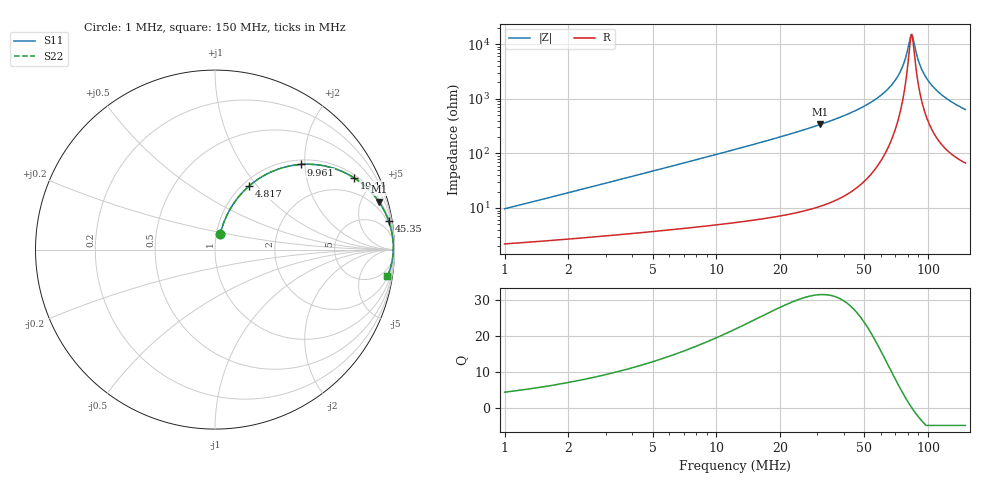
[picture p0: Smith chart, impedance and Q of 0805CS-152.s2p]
# MHz S MA R 50
!Freq  MagS11  AngS11  MagS21  AngS21  MagS12  AngS12  MagS22  AngS22
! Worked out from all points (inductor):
!   801 points, 1 MHz to 150 MHz, reference 50 ohm
!   read as one part in series: L = 1.5 uH near 1.025 MHz
!   highest Q = 31.5 at 30.95 MHz (marker M1), where L = 1.74 uH
!   self-resonance near 83.25 MHz
!   S11 on the Smith chart (normalised r, x): 1 MHz: 1.04, +0.19; 4.817 MHz: 1.07, +0.91; 9.961 MHz: 1.10, +1.90; 19.11 MHz: 1.14, +3.80; 45.35 MHz: 1, +12; 150 MHz: 2, -13
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1  0.09431 71.6  0.9743 -5.3  0.9743 -5.3  0.09431 71.6
1.640171  0.1511 72.1  0.9643 -8.6  0.9643 -8.6  0.1511 72.1
2.464316  0.2221 70.2  0.948 -12.7  0.948 -12.7  0.2221 70.2
4.816689  0.4036 61.7  0.8833 -23.7  0.8833 -23.7  0.4036 61.7
9.960517  0.673 44.8  0.7058 -42.2  0.7058 -42.2  0.673 44.8
14.23405  0.7946 35.0  0.5746 -52.5  0.5746 -52.5  0.7946 35.0
19.10617  0.872 27.3  0.4587 -60.6  0.4587 -60.6  0.872 27.3
25.96924  0.9284 20.0  0.3425 -68.1  0.3425 -68.1  0.9284 20.0
30.94728  0.9508 16.3  0.2812 -71.9  0.2812 -71.9  0.9508 16.3
45.3471  0.9808 9.3  0.1619 -78.6  0.1619 -78.6  0.9808 9.3
50.75882  0.9859 7.5  0.1301 -80.1  0.1301 -80.1  0.9859 7.5
66.44716  0.9928 3.3  0.05853 -81.2  0.05853 -81.2  0.9928 3.3
75.78772  0.9937 1.4  0.02543 -74.9  0.02543 -74.9  0.9937 1.4
81.70341  0.9936 0.3  0.008605 -41.5  0.008605 -41.5  0.9936 0.3
83.7762  0.9934 -0.0  0.006603 4.9  0.006603 4.9  0.9934 -0.0
85.36523  0.9933 -0.3  0.008552 38.0  0.008552 38.0  0.9933 -0.3
89.19116  0.9928 -0.9  0.01779 65.7  0.01779 65.7  0.9928 -0.9
92.0285  0.9924 -1.4  0.02531 71.7  0.02531 71.7  0.9924 -1.4
100.4625  0.9907 -2.7  0.04712 77.2  0.04712 77.2  0.9907 -2.7
111.0518  0.9878 -4.1  0.07263 78.3  0.07263 78.3  0.9878 -4.1
125.8717  0.9827 -6.0  0.1053 77.6  0.1053 77.6  0.9827 -6.0
150  0.9723 -8.7  0.1528 75.2  0.1528 75.2  0.9723 -8.7
